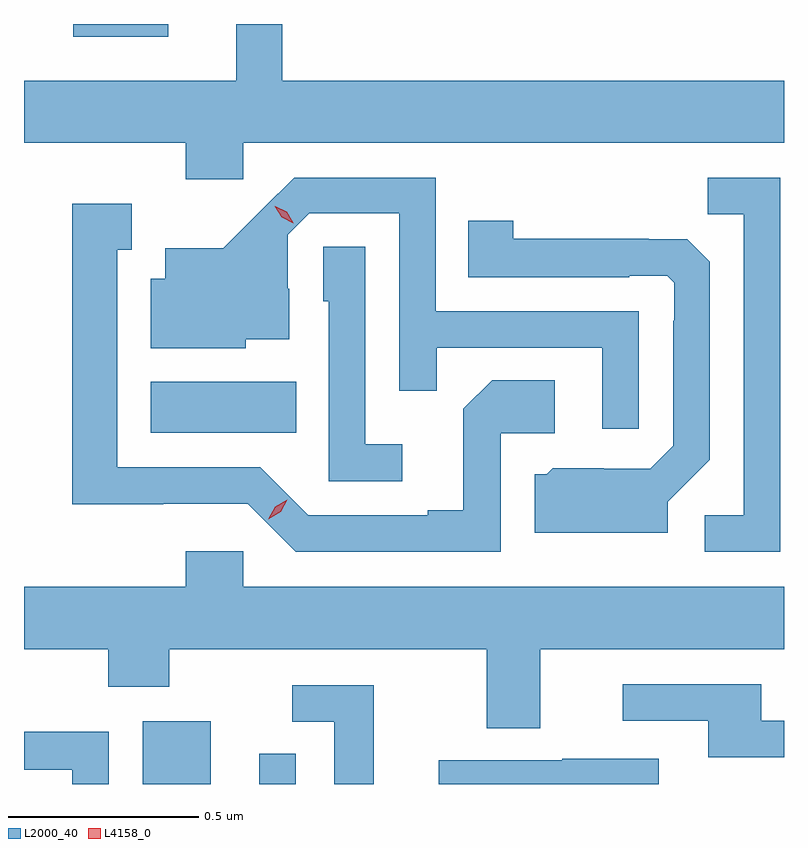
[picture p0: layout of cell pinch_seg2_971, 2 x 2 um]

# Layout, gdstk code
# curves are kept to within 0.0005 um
import gdstk
lib = gdstk.Library(unit=1e-6, precision=1e-09)
def R(c, l, rs):  # rectangles x0, y0, x1, y1
    for r in rs: c.add(gdstk.rectangle(r[:2], r[2:], *l))
def P(c, l, *ps):  # polygons
    for p in ps: c.add(gdstk.Polygon(p, *l))
L2000_40 = (2000, 40)
L4158_0 = (4158, 0)

pinch_seg2_971 = lib.new_cell('pinch_seg2_971')
R(pinch_seg2_971, L2000_40, [(317.171,651.277,317.35,651.442), (317.478,651.277,317.574,651.356), (317.192,652.202,317.576,652.336), (316.988,653.243,317.239,653.277)])
P(pinch_seg2_971, L2000_40, [(317.436,652.964),(318.859,652.964),(318.859,653.128),(317.539,653.128),(317.539,653.277),(317.417,653.277),(317.417,653.128),(316.859,653.128),(316.859,652.964),(317.285,652.964),(317.285,652.869),(317.436,652.869)],
  [(318.477,652.521),(317.943,652.521),(317.943,652.872),(317.57,652.872),(317.383,652.687),(317.231,652.687),(317.231,652.606),(317.192,652.606),(317.192,652.424),(317.442,652.424),(317.442,652.448),(317.557,652.448),(317.557,652.58),(317.553,652.58),(317.553,652.722),(317.61,652.779),(317.847,652.779),(317.847,652.312),(317.945,652.312),(317.945,652.425),(318.381,652.425),(318.381,652.212),(318.477,652.212)],
  [(318.849,652.872),(318.658,652.872),(318.658,652.777),(318.753,652.777),(318.753,651.984),(318.651,651.984),(318.651,651.888),(318.849,651.888)],
  [(318.114,652.2),(318.256,652.2),(318.256,652.34),(318.091,652.34),(318.015,652.264),(318.015,651.997),(317.921,651.997),(317.921,651.984),(317.607,651.984),(317.481,652.11),(317.104,652.11),(317.104,652.683),(317.143,652.683),(317.143,652.804),(316.986,652.804),(316.986,652.013),(317.226,652.013),(317.226,652.014),(317.448,652.014),(317.574,651.888),(318.114,651.888)],
  [(318.553,652.02),(318.663,652.13),(318.663,652.652),(318.604,652.711),(318.503,652.711),(318.503,652.712),(318.147,652.712),(318.147,652.759),(318.028,652.759),(318.028,652.611),(318.452,652.611),(318.452,652.614),(318.552,652.614),(318.57,652.596),(318.57,652.496),(318.567,652.496),(318.567,652.167),(318.507,652.107),(318.384,652.107),(318.384,652.108),(318.25,652.108),(318.234,652.092),(318.203,652.092),(318.203,651.938),(318.553,651.938)],
  [(317.854,652.171),(317.757,652.171),(317.757,652.691),(317.646,652.691),(317.646,652.548),(317.661,652.548),(317.661,652.074),(317.854,652.074)],
  [(317.436,651.889),(317.285,651.889),(317.285,651.796),(316.859,651.796),(316.859,651.632),(317.081,651.632),(317.081,651.533),(317.241,651.533),(317.241,651.632),(318.077,651.632),(318.077,651.424),(318.217,651.424),(318.217,651.632),(318.859,651.632),(318.859,651.796),(317.436,651.796)],
  [(318.859,651.444),(318.799,651.444),(318.799,651.54),(318.435,651.54),(318.435,651.444),(318.659,651.444),(318.659,651.348),(318.859,651.348)],
  [(317.779,651.537),(317.565,651.537),(317.565,651.441),(317.675,651.441),(317.675,651.277),(317.779,651.277)],
  [(317.082,651.414),(316.859,651.414),(316.859,651.315),(316.986,651.315),(316.986,651.277),(317.082,651.277)],
  [(318.529,651.343),(318.275,651.343),(318.275,651.339),(317.951,651.339),(317.951,651.277),(318.529,651.277)])
P(pinch_seg2_971, L4158_0, [(317.567,652.753),(317.537,652.768),(317.519,652.798),(317.519,652.798),(317.52,652.798),(317.55,652.783),(317.568,652.754),(317.568,652.753)],
  [(317.502,651.974),(317.502,651.974),(317.52,652.007),(317.552,652.025),(317.552,652.025),(317.552,652.025),(317.534,651.993),(317.502,651.974)])

lib.write_gds('pinch_seg2_971.gds')
